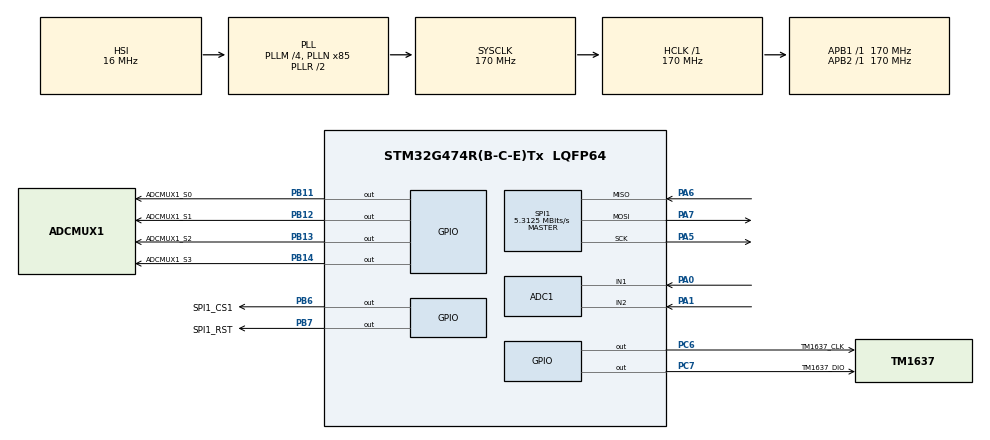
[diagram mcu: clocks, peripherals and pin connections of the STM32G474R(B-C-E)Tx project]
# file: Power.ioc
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ADC1.Channel-0\#ChannelRegularConversion=ADC_CHANNEL_1
ADC1.Channel-1\#ChannelRegularConversion=ADC_CHANNEL_2
ADC1.ClockPrescaler=ADC_CLOCK_SYNC_PCLK_DIV4
ADC1.NbrOfConversion=2
ADC1.NbrOfConversionFlag=1
ADC1.OffsetNumber-0\#ChannelRegularConversion=ADC_OFFSET_NONE
ADC1.OffsetNumber-1\#ChannelRegularConversion=ADC_OFFSET_NONE
ADC1.Rank-0\#ChannelRegularConversion=1
ADC1.Rank-1\#ChannelRegularConversion=2
ADC1.SamplingTime-0\#ChannelRegularConversion=ADC_SAMPLETIME_92CYCLES_5
ADC1.SamplingTime-1\#ChannelRegularConversion=ADC_SAMPLETIME_92CYCLES_5
ADC1.master=1
Dma.ADC1.0.Direction=DMA_PERIPH_TO_MEMORY
Dma.ADC1.0.EventEnable=DISABLE
Dma.ADC1.0.Instance=DMA1_Channel1
Dma.ADC1.0.MemDataAlignment=DMA_MDATAALIGN_HALFWORD
Dma.ADC1.0.MemInc=DMA_MINC_ENABLE
Dma.ADC1.0.Mode=DMA_NORMAL
Dma.ADC1.0.PeriphDataAlignment=DMA_PDATAALIGN_HALFWORD
Dma.ADC1.0.PeriphInc=DMA_PINC_DISABLE
Dma.ADC1.0.Polarity=HAL_DMAMUX_REQ_GEN_RISING
Dma.ADC1.0.Priority=DMA_PRIORITY_LOW
Dma.ADC1.0.RequestNumber=1
Dma.ADC1.0.SignalID=NONE
Dma.ADC1.0.SyncEnable=DISABLE
Dma.ADC1.0.SyncPolarity=HAL_DMAMUX_SYNC_NO_EVENT
Dma.ADC1.0.SyncRequestNumber=1
Dma.ADC1.0.SyncSignalID=NONE
Dma.Request0=ADC1
Mcu.Family=STM32G4
Mcu.Name=STM32G474R(B-C-E)Tx
Mcu.Package=LQFP64
NVIC.ADC1_2_IRQn=true\:0\:0\:false\:false\:true\:true\:true\:true
NVIC.DMA1_Channel1_IRQn=true\:0\:0\:false\:false\:true\:false\:true\:true
NVIC.PriorityGroup=NVIC_PRIORITYGROUP_4
PA0.Mode=IN1-Single-Ended
PA0.Signal=ADC1_IN1
PA1.Mode=IN2-Single-Ended
PA1.Signal=ADC1_IN2
PA13.Mode=Serial_Wire
PA13.Signal=SYS_JTMS-SWDIO
PA14.Mode=Serial_Wire
PA14.Signal=SYS_JTCK-SWCLK
PA5.GPIO_Speed=GPIO_SPEED_FREQ_VERY_HIGH
PA5.Mode=Full_Duplex_Master
PA5.Signal=SPI1_SCK
PA6.GPIO_Speed=GPIO_SPEED_FREQ_VERY_HIGH
PA6.Mode=Full_Duplex_Master
PA6.Signal=SPI1_MISO
PA7.GPIO_Speed=GPIO_SPEED_FREQ_VERY_HIGH
PA7.Mode=Full_Duplex_Master
PA7.Signal=SPI1_MOSI
PB11.GPIO_Label=ADCMUX1_S0
PB11.Signal=GPIO_Output
PB12.GPIO_Label=ADCMUX1_S1
PB12.Signal=GPIO_Output
PB13.GPIO_Label=ADCMUX1_S2
PB13.Signal=GPIO_Output
PB14.GPIO_Label=ADCMUX1_S3
PB14.Signal=GPIO_Output
PB6.GPIO_Label=SPI1_CS1
PB6.GPIO_Speed=GPIO_SPEED_FREQ_VERY_HIGH
PB6.PinState=GPIO_PIN_SET
PB6.Signal=GPIO_Output
PB7.GPIO_Label=SPI1_RST
PB7.PinState=GPIO_PIN_SET
PB7.Signal=GPIO_Output
PC6.GPIO_Label=TM1637_CLK
PC6.GPIO_ModeDefaultOutputPP=GPIO_MODE_OUTPUT_OD
PC6.GPIO_PuPd=GPIO_NOPULL
PC6.GPIO_Speed=GPIO_SPEED_FREQ_VERY_HIGH
PC6.PinState=GPIO_PIN_SET
PC6.Signal=GPIO_Output
PC7.GPIO_Label=TM1637_DIO
PC7.GPIO_ModeDefaultOutputPP=GPIO_MODE_OUTPUT_OD
PC7.GPIO_PuPd=GPIO_NOPULL
PC7.GPIO_Speed=GPIO_SPEED_FREQ_VERY_HIGH
PC7.PinState=GPIO_PIN_SET
PC7.Signal=GPIO_Output
PF0-OSC_IN.Mode=HSE-External-Oscillator
PF0-OSC_IN.Signal=RCC_OSC_IN
PF1-OSC_OUT.Mode=HSE-External-Oscillator
PF1-OSC_OUT.Signal=RCC_OSC_OUT
ProjectManager.HeapSize=0x200
ProjectManager.StackSize=0x400
ProjectManager.TargetToolchain=MDK-ARM V5.32
RCC.ADC12Freq_Value=170000000
RCC.ADC345Freq_Value=170000000
RCC.AHBFreq_Value=170000000
RCC.APB1Freq_Value=170000000
RCC.APB1TimFreq_Value=170000000
RCC.APB2Freq_Value=170000000
RCC.APB2TimFreq_Value=170000000
RCC.CortexFreq_Value=170000000
RCC.EXTERNAL_CLOCK_VALUE=12288000
RCC.HCLKFreq_Value=170000000
RCC.HSE_VALUE=8000000
RCC.HSI48_VALUE=48000000
RCC.HSI_VALUE=16000000
RCC.LSE_VALUE=32768
RCC.PLLM=RCC_PLLM_DIV4
RCC.PLLN=85
RCC.SYSCLKFreq_VALUE=170000000
RCC.SYSCLKSource=RCC_SYSCLKSOURCE_PLLCLK
RCC.USBFreq_Value=170000000
RCC.VCOOutputFreq_Value=340000000
SPI1.BaudRatePrescaler=SPI_BAUDRATEPRESCALER_32
SPI1.CalculateBaudRate=5.3125 MBits/s
SPI1.DataSize=SPI_DATASIZE_8BIT
SPI1.Direction=SPI_DIRECTION_2LINES
SPI1.Mode=SPI_MODE_MASTER
SPI1.VirtualType=VM_MASTER
VP_SYS_VS_DBSignals.Mode=DisableDeadBatterySignals
board=custom

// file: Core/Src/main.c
/* USER CODE BEGIN Header */
/**
  ******************************************************************************
  * @file           : main.c
  * @brief          : Main program body
  ******************************************************************************
  * @attention
  *
  * Copyright (c) 2026 STMicroelectronics.
  * All rights reserved.
  *
  * This software is licensed under terms that can be found in the LICENSE file
  * in the root directory of this software component.
  * If no LICENSE file comes with this software, it is provided AS-IS.
  *
  ******************************************************************************
  */
/* USER CODE END Header */
#include "main.h"
#include "adc.h"
#include "dma.h"
#include "spi.h"
#include "gpio.h"

/* USER CODE BEGIN Includes */
#include "mcp23s17.h"
#include "adc_mux_scan.h"

/* USER CODE END Includes */

/* USER CODE BEGIN PV */
static volatile uint32_t app_error_flags;

/* USER CODE END PV */

void SystemClock_Config(void);

/* USER CODE BEGIN 0 */
#define APP_ERROR_MCP23S17_INIT     (0x00000001UL)
#define APP_ERROR_ADC_SCAN_INIT     (0x00000002UL)
#define APP_ERROR_ADC_SCAN_RUNTIME  (0x00000004UL)

static void APP_InitModules(void)
{
  if (MCP23S17_Init(&hspi1, 0U) != HAL_OK)
  {
    app_error_flags |= APP_ERROR_MCP23S17_INIT;
  }

  if (ADCMuxScan_Init(&hadc1) != HAL_OK)
  {
    app_error_flags |= APP_ERROR_ADC_SCAN_INIT;
  }
}

static void APP_ServiceModules(void)
{
  if (ADCMuxScan_Service() == ADCMUX_SCAN_ERROR)
  {
    app_error_flags |= APP_ERROR_ADC_SCAN_RUNTIME;
  }
}

/* USER CODE END 0 */

int main(void)
{

  /* MCU Configuration--------------------------------------------------------*/

  /* Reset of all peripherals, Initializes the Flash interface and the Systick. */
  HAL_Init();

  /* Configure the system clock */
  SystemClock_Config();

  /* Initialize all configured peripherals */
  MX_GPIO_Init();
  MX_DMA_Init();
  MX_ADC1_Init();
  MX_SPI1_Init();
  /* USER CODE BEGIN 2 */
  APP_InitModules();

  /* USER CODE END 2 */

  /* Infinite loop */
  while (1)
  {

    /* USER CODE BEGIN 3 */
    APP_ServiceModules();
  }
  /* USER CODE END 3 */
}

void SystemClock_Config(void)
{
  RCC_OscInitTypeDef RCC_OscInitStruct = {0};
  RCC_ClkInitTypeDef RCC_ClkInitStruct = {0};

  /** Configure the main internal regulator output voltage
  */
  HAL_PWREx_ControlVoltageScaling(PWR_REGULATOR_VOLTAGE_SCALE1_BOOST);

  /** Initializes the RCC Oscillators according to the specified parameters
  * in the RCC_OscInitTypeDef structure.
  */
  RCC_OscInitStruct.OscillatorType = RCC_OSCILLATORTYPE_HSI;
  RCC_OscInitStruct.HSIState = RCC_HSI_ON;
  RCC_OscInitStruct.HSICalibrationValue = RCC_HSICALIBRATION_DEFAULT;
  RCC_OscInitStruct.PLL.PLLState = RCC_PLL_ON;
  RCC_OscInitStruct.PLL.PLLSource = RCC_PLLSOURCE_HSI;
  RCC_OscInitStruct.PLL.PLLM = RCC_PLLM_DIV4;
  RCC_OscInitStruct.PLL.PLLN = 85;
  RCC_OscInitStruct.PLL.PLLP = RCC_PLLP_DIV2;
  RCC_OscInitStruct.PLL.PLLQ = RCC_PLLQ_DIV2;
  RCC_OscInitStruct.PLL.PLLR = RCC_PLLR_DIV2;
  if (HAL_RCC_OscConfig(&RCC_OscInitStruct) != HAL_OK)
  {
    Error_Handler();
  }

  /** Initializes the CPU, AHB and APB buses clocks
  */
  RCC_ClkInitStruct.ClockType = RCC_CLOCKTYPE_HCLK|RCC_CLOCKTYPE_SYSCLK
                              |RCC_CLOCKTYPE_PCLK1|RCC_CLOCKTYPE_PCLK2;
  RCC_ClkInitStruct.SYSCLKSource = RCC_SYSCLKSOURCE_PLLCLK;
  RCC_ClkInitStruct.AHBCLKDivider = RCC_SYSCLK_DIV1;
  RCC_ClkInitStruct.APB1CLKDivider = RCC_HCLK_DIV1;
  RCC_ClkInitStruct.APB2CLKDivider = RCC_HCLK_DIV1;

  if (HAL_RCC_ClockConfig(&RCC_ClkInitStruct, FLASH_LATENCY_4) != HAL_OK)
  {
    Error_Handler();
  }
}

void Error_Handler(void)
{
  __disable_irq();
  while (1)
  {
  }
}
